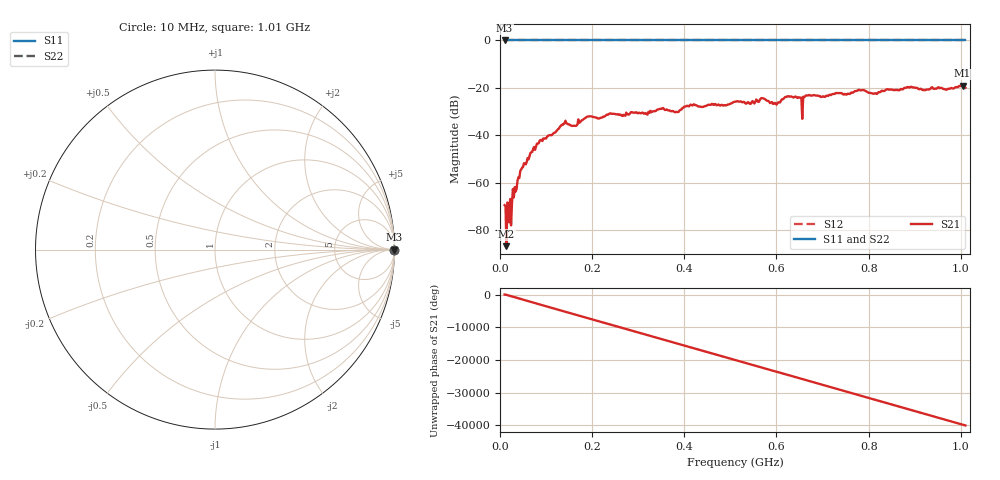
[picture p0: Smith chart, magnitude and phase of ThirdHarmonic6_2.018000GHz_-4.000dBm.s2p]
! 8/17/2025 12:13:26 AM
! C:\ANRITSUVNA\TEMP\TEMP.S2P
! CHANNEL.1
! TR.MEASUREMENT
! RAW.DATA
! RF.CORRECTION.OFF
! AVERAGING.OFF
! IF.BANDWIDTH: 5KHZ
! SWEEPTYPE:  FREQ.SWEEP(Linear)
! Reference Plane Port Info
! PORT:  PORT1  PORT2
! DISTANCE:  0  m  0  m
! TIME:  0  s  0  s
! PHASE.OFFSET:  0  deg.  0  deg.
! LOSS:  0  dB  0  dB
! REF.LOSS:  0  dB  0  dB
! REF.FREQ:  0  Hz  0  Hz
! Power Info
! POWER:  -20  dBm  -20  dBm
! EFF.POWER:  -20  dBm  -20  dBm
! SOURCE.ATTEN:  0  dB  0  dB
! TEST.ATTEN:  0  dB  0  dB
# GHZ S RI R 50.0
! FREQ.GHZ  S11RE  S11IM  S21RE  S21IM  S12RE  S12IM  S22RE  S22IM
!; PortSelection: Port_12
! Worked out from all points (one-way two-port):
!   501 points, 10 MHz to 1.01 GHz, reference 50 ohm
!   highest |S21| = -19.08 dB at 1.004 GHz (marker M1); lowest = -86.8 dB at 14 MHz (marker M2)
!   lowest |S11| = 0.0 dB at 10 MHz (marker M3)
!   |S11| at or under -10 dB: nowhere
!   |S22| runs from 0.0 to 0.0 dB; largest |S21 - S12| = 1.1
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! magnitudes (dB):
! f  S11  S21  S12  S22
! 10 MHz  0.0  -69.5  0.0  0.0
! 14 MHz  0.0  -86.8  0.0  0.0
! 22 MHz  0.0  -66.9  0.0  0.0
! 30 MHz  0.0  -66.2  0.0  0.0
! 48 MHz  0.0  -53.6  0.0  0.0
! 84 MHz  0.0  -43.3  0.0  0.0
! 138 MHz  0.0  -35.1  0.0  0.0
! 162 MHz  0.0  -36.0  0.0  0.0
! 178 MHz  0.0  -33.6  0.0  0.0
! 344 MHz  0.0  -29.1  0.0  0.0
! 384 MHz  0.0  -30.2  0.0  0.0
! 416 MHz  0.0  -27.4  0.0  0.0
! 510 MHz  0.0  -25.8  0.0  0.0
! 570 MHz  0.0  -24.4  0.0  0.0
! 598 MHz  0.0  -26.5  0.0  0.0
! 628 MHz  0.0  -23.7  0.0  0.0
! 656 MHz  0.0  -33.1  0.0  0.0
! 662 MHz  0.0  -23.5  0.0  0.0
! 678 MHz  0.0  -23.2  0.0  0.0
! 844 MHz  0.0  -20.7  0.0  0.0
! 1.004 GHz  0.0  -19.1  0.0  0.0
! 1.01 GHz  0.0  -19.9  0.0  0.0
